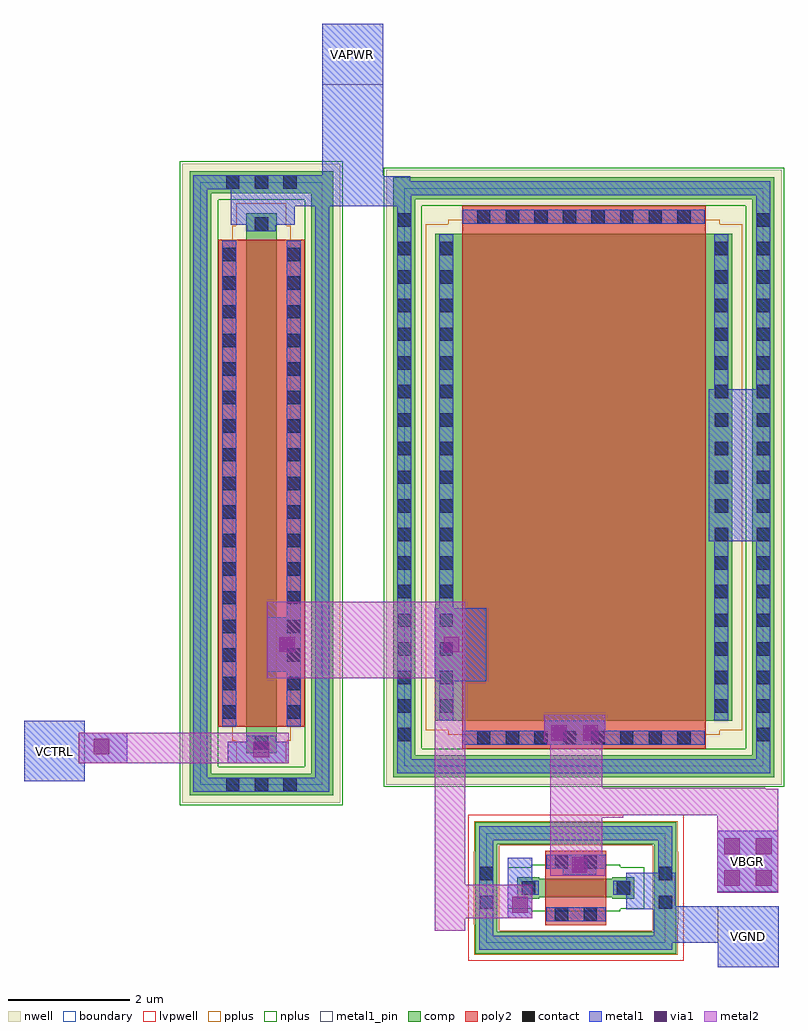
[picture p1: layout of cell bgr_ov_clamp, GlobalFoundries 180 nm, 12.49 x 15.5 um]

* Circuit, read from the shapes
.subckt bgr_ov_clamp VAPWR VBGR VCTRL VGND
XM1 VGND VBGR n1 VGND nfet_03v3 w=0.3u l=1u
XM2 VAPWR n1 VCTRL VAPWR pfet_03v3 w=0.5u l=8u
XM3 VAPWR VBGR n1 VAPWR pfet_03v3 w=8u l=4u
.ends

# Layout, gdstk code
from math import pi, radians
import gdstk
lib = gdstk.Library(unit=1e-6, precision=1e-09)
def R(c, l, rs):  # rectangles x0, y0, x1, y1
    for r in rs: c.add(gdstk.rectangle(r[:2], r[2:], *l))
def A(c, l, x, y, w, h, nx, ny, dx, dy):  # array of equal rectangles
    R(c, l, [(x+i*dx, y+j*dy, x+i*dx+w, y+j*dy+h) for i in range(nx) for j in range(ny)])
boundary = (0, 0)
nwell = (21, 0)
comp = (22, 0)
poly2 = (30, 0)
pplus = (31, 0)
nplus = (32, 0)
contact = (33, 0)
metal1 = (34, 0)
metal1_pin = (34, 10)
via1 = (35, 0)
metal2 = (36, 0)
lvpwell = (204, 0)

pfet_03v3_gbsz22 = lib.new_cell('pfet_03v3_GBSZ22')
R(pfet_03v3_gbsz22, boundary, [(-4.95,-1,4.95,1)])
R(pfet_03v3_gbsz22, nwell, [(-5.25,-1.3,5.25,1.3)])
R(pfet_03v3_gbsz22, comp, [(-5.13,-1.18,5.13,-0.82), (-5.13,-0.82,-4.77,0.82), (4.77,-0.82,5.13,0.82), (-4.44,-0.25,4.44,0.25), (-5.13,0.82,5.13,1.18)])
R(pfet_03v3_gbsz22, poly2, [(-4,-0.71,4,0.71)])
R(pfet_03v3_gbsz22, pplus, [(-4.23,-0.48,4.23,-0.41), (-4.6,-0.41,4.6,0.41), (-4.23,0.41,4.23,0.48)])
R(pfet_03v3_gbsz22, nplus, [(-5.29,-1.34,5.29,-0.71), (-5.29,-0.71,-4.66,0.71), (4.66,-0.71,5.29,0.71), (-5.29,0.71,5.29,1.34)])
A(pfet_03v3_gbsz22, contact, -3.87, -0.64, 0.22, 0.22, 17, 2, 0.47, 1.06)
A(pfet_03v3_gbsz22, contact, -5.06, -0.58, 0.22, 0.22, 1, 3, 0, 0.47)
A(pfet_03v3_gbsz22, contact, 4.84, -0.58, 0.22, 0.22, 1, 3, 0, 0.47)
R(pfet_03v3_gbsz22, contact, [(-4.37,-0.11,-4.15,0.11), (4.15,-0.11,4.37,0.11)])
R(pfet_03v3_gbsz22, metal1, [(-5.065,-1.115,5.065,-0.885), (-5.065,-0.885,-4.835,0.885), (4.835,-0.885,5.065,0.885), (-3.99,-0.645,3.99,-0.415), (-4.375,-0.24,-4.145,0.24), (4.145,-0.24,4.375,0.24), (-3.99,0.415,3.99,0.645), (-5.065,0.885,5.065,1.115)])

nfet_03v3_7ujbu5 = lib.new_cell('nfet_03v3_7UJBU5')
R(nfet_03v3_7ujbu5, boundary, [(-1.47,-0.9,1.47,0.9)])
R(nfet_03v3_7ujbu5, comp, [(-1.65,-1.08,1.65,-0.72), (-1.65,-0.72,-1.29,0.72), (1.29,-0.72,1.65,0.72), (-0.96,-0.18,-0.6,-0.15), (0.6,-0.18,0.96,-0.15), (-0.96,-0.15,0.96,0.15), (-0.96,0.15,-0.6,0.18), (0.6,0.15,0.96,0.18), (-1.65,0.72,1.65,1.08)])
R(nfet_03v3_7ujbu5, poly2, [(-0.5,-0.61,0.5,0.61)])
R(nfet_03v3_7ujbu5, pplus, [(-1.67,-1.1,1.67,-0.7), (-1.67,-0.7,-1.26,-0.595), (1.26,-0.7,1.67,-0.595), (-1.68,-0.595,-1.26,0.595), (1.26,-0.595,1.68,0.595), (-1.67,0.595,-1.26,0.7), (1.26,0.595,1.67,0.7), (-1.67,0.7,1.67,1.1)])
R(nfet_03v3_7ujbu5, nplus, [(-0.73,-0.38,0.73,-0.34), (-1.12,-0.34,1.12,0.34), (-0.73,0.34,0.73,0.38)])
R(nfet_03v3_7ujbu5, contact, [(-0.345,-0.54,-0.125,-0.32), (0.125,-0.54,0.345,-0.32), (-1.58,-0.345,-1.36,-0.125), (1.36,-0.345,1.58,-0.125), (-0.89,-0.11,-0.67,0.11), (0.67,-0.11,0.89,0.11), (-1.58,0.125,-1.36,0.345), (1.36,0.125,1.58,0.345), (-0.345,0.32,-0.125,0.54), (0.125,0.32,0.345,0.54)])
R(nfet_03v3_7ujbu5, metal1, [(-1.585,-1.015,1.585,-0.785), (-1.585,-0.785,-1.355,0.785), (1.355,-0.785,1.585,0.785), (-0.49,-0.545,0.49,-0.315), (-0.95,-0.115,-0.61,0.115), (0.61,-0.115,0.95,0.115), (-0.49,0.315,0.49,0.545), (-1.585,0.785,1.585,1.015)])
R(nfet_03v3_7ujbu5, lvpwell, [(-1.77,-1.2,1.77,1.2)])

pfet_03v3_g8y8rw = lib.new_cell('pfet_03v3_G8Y8RW')
R(pfet_03v3_g8y8rw, boundary, [(-2.95,-4.75,2.95,4.75)])
R(pfet_03v3_g8y8rw, nwell, [(-3.25,-5.05,3.25,5.05)])
R(pfet_03v3_g8y8rw, comp, [(-3.13,-4.93,3.13,-4.57), (-3.13,-4.57,-2.77,4.57), (2.77,-4.57,3.13,4.57), (-2.44,-4,2.44,4), (-3.13,4.57,3.13,4.93)])
R(pfet_03v3_g8y8rw, poly2, [(-2,-4.46,2,4.46)])
R(pfet_03v3_g8y8rw, pplus, [(-2.23,-4.23,2.23,-4.16), (-2.6,-4.16,2.6,4.16), (-2.23,4.16,2.23,4.23)])
R(pfet_03v3_g8y8rw, nplus, [(-3.29,-5.09,3.29,-4.46), (-3.29,-4.46,-2.66,4.46), (2.66,-4.46,3.29,4.46), (-3.29,4.46,3.29,5.09)])
A(pfet_03v3_g8y8rw, contact, -1.755, -4.39, 0.22, 0.22, 8, 2, 0.47, 8.56)
A(pfet_03v3_g8y8rw, contact, -3.06, -4.34, 0.22, 0.22, 1, 19, 0, 0.47)
A(pfet_03v3_g8y8rw, contact, 2.84, -4.34, 0.22, 0.22, 1, 19, 0, 0.47)
A(pfet_03v3_g8y8rw, contact, -2.37, -3.87, 0.22, 0.22, 1, 17, 0, 0.47)
A(pfet_03v3_g8y8rw, contact, 2.15, -3.87, 0.22, 0.22, 1, 17, 0, 0.47)
R(pfet_03v3_g8y8rw, metal1, [(-3.065,-4.865,3.065,-4.635), (-3.065,-4.635,-2.835,4.635), (2.835,-4.635,3.065,4.635), (-1.99,-4.395,1.99,-4.165), (-2.375,-3.99,-2.145,3.99), (2.145,-3.99,2.375,3.99), (-1.99,4.165,1.99,4.395), (-3.065,4.635,3.065,4.865)])

bgr_ov_clamp = lib.new_cell('bgr_ov_clamp')
R(bgr_ov_clamp, metal1, [(9.5,-9.5,10.5,-9.1), (8.45,-9.1,10.5,-8.55), (6.05,-8.7,6.45,-7.7), (8,-8.55,10.5,-8.5), (8,-8.5,8.8,-7.95), (9.495,-8.26,10.495,-7.26), (6.955,-7.98,7.505,-7.66), (-1.9,-6.45,-0.9,-6.15), (-1.9,-6.15,-0.2,-5.65), (1.45,-6.15,2.45,-5.8), (6.65,-5.85,7.65,-5.45), (1.8,-5.8,2.2,-5.75), (-1.9,-5.65,-0.9,-5.45), (4.85,-4.8,5.7,-3.6), (2.1,-4.65,2.65,-3.75), (9.35,-2.5,10.25,0), (1.5,2.7,2.55,3), (1.5,3,4.45,3.5), (3,3.5,4,6)])
R(bgr_ov_clamp, metal1_pin, [(9.5,-9.5,10.5,-8.5), (9.495,-8.26,10.495,-7.26), (-1.9,-6.45,-0.9,-5.45), (3,5,4,6)])
R(bgr_ov_clamp, via1, [(6.12,-8.605,6.38,-8.345), (9.605,-8.165,9.865,-7.905), (10.125,-8.165,10.385,-7.905), (7.1,-7.95,7.36,-7.69), (9.605,-7.645,9.865,-7.385), (10.125,-7.645,10.385,-7.385), (1.87,-6.055,2.13,-5.795), (-0.755,-6.005,-0.495,-5.745), (6.76,-5.78,7.02,-5.52), (7.28,-5.78,7.54,-5.52), (2.295,-4.33,2.555,-4.07), (4.995,-4.33,5.255,-4.07)])
R(bgr_ov_clamp, metal2, [(4.85,-8.9,5.35,-8.7), (4.85,-8.7,6.45,-8.15), (9.49,-8.28,10.495,-7.005), (4.85,-8.15,5.35,-4.75), (6.75,-8,7.65,-7.69), (6.75,-7.69,7.6,-7.05), (6.75,-7.05,7.95,-7.005), (6.75,-7.005,10.495,-6.57), (6.75,-6.57,10.285,-6.555), (6.75,-6.555,8.2,-6.55), (6.75,-6.55,7.6,-5.85), (-1,-6.15,2.45,-5.65), (6.7,-5.85,7.6,-5.8), (6.65,-5.8,7.65,-5.35), (2.1,-4.75,5.35,-3.5)])
bgr_ov_clamp.add(gdstk.Reference(pfet_03v3_gbsz22, (2,-1.55), rotation=3*pi/2))
bgr_ov_clamp.add(gdstk.Reference(nfet_03v3_7ujbu5, (7.17,-8.2)))
bgr_ov_clamp.add(gdstk.Reference(pfet_03v3_g8y8rw, (7.3,-1.45)))
bgr_ov_clamp.add(gdstk.Label('VGND', (10,-9), layer=34, texttype=10))
bgr_ov_clamp.add(gdstk.Label('VCTRL', (-1.4,-5.95), layer=34, texttype=10))
bgr_ov_clamp.add(gdstk.Label('VBGR', (9.995,-7.76), layer=34, texttype=10))
bgr_ov_clamp.add(gdstk.Label('VAPWR', (3.5,5.5), layer=34, texttype=10))

lib.write_gds('bgr_ov_clamp.gds')
